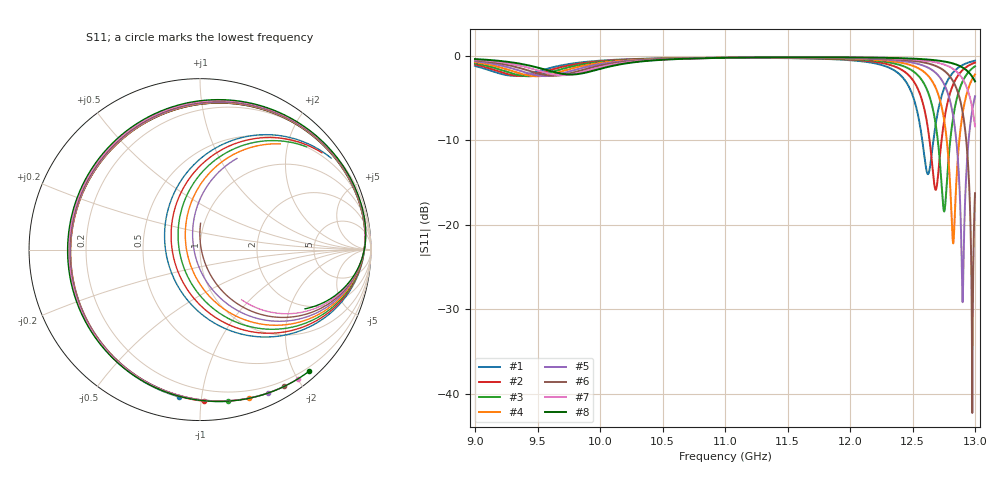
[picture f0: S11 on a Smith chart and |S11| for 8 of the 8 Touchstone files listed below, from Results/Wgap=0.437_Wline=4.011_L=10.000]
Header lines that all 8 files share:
! TOUCHSTONE file generated by CST DESIGN STUDIO
! Project name: C:\Work\MatlabApps\UnitCellOptimizationMatlab\CST\unitcell.cst
! Tree item: Tasks\Sweep1\SPara1\S-Parameters
! Header version: 2024
! Port assignment regex: !\s*Touchstone port\s*([0-9]+)\s*=\s*(CST MWS port|CST DES external port|CST DES block port)\s*(.+)\s* \(\"(.*)\"\)(\s*mode\s*([0-9]+))?.*
! Touchstone port assignment:
! Touchstone port 1 = CST DES external port 1 ("")
# GHz S MA R 50
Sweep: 9 GHz to 13 GHz
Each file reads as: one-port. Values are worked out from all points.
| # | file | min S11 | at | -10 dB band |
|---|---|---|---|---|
| 1 | DS_for_MWS-run-0001.s1p | -14.0 dB | 12.62 GHz | 89.23 MHz wide |
| 2 | DS_for_MWS-run-0002.s1p | -15.9 dB | 12.69 GHz | 96.05 MHz wide |
| 3 | DS_for_MWS-run-0003.s1p | -18.4 dB | 12.75 GHz | 99.77 MHz wide |
| 4 | DS_for_MWS-run-0004.s1p | -22.2 dB | 12.83 GHz | 100.5 MHz wide |
| 5 | DS_for_MWS-run-0005.s1p | -29.2 dB | 12.9 GHz | 98.62 MHz wide |
| 6 | DS_for_MWS-run-0006.s1p | -42.3 dB | 12.98 GHz | over 70.17 MHz wide |
| 7 | DS_for_MWS-run-0007.s1p | -8.4 dB | 13 GHz | - |
| 8 | DS_for_MWS-run-0008.s1p | -3.0 dB | 13 GHz | - |
